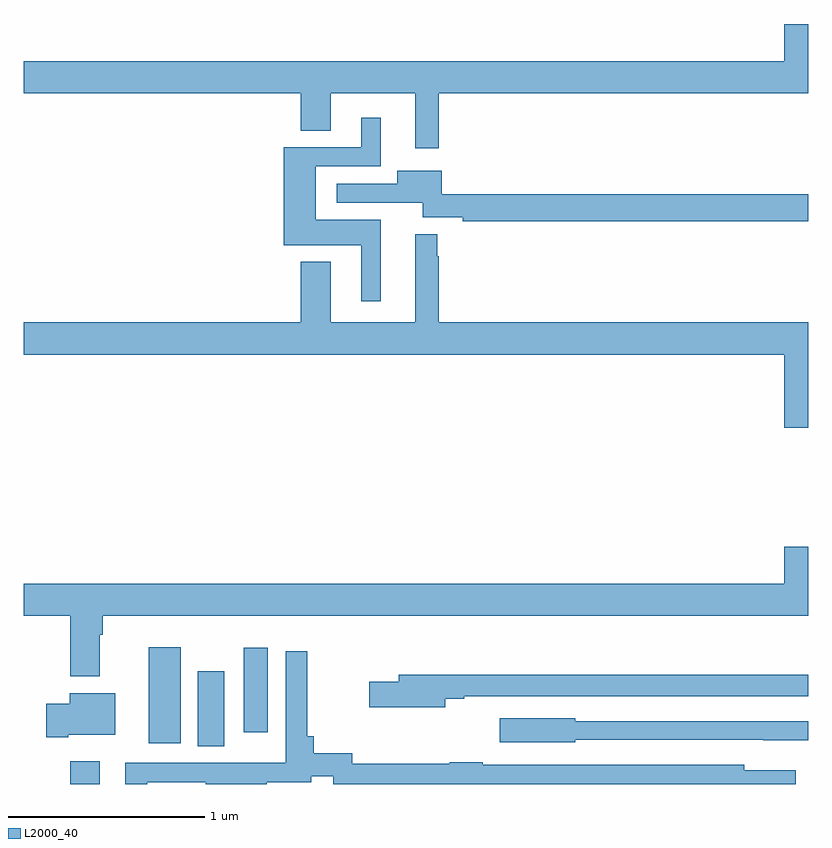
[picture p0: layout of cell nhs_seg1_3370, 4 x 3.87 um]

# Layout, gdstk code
import gdstk
lib = gdstk.Library(unit=1e-6, precision=1e-09)
def R(c, l, rs):  # rectangles x0, y0, x1, y1
    for r in rs: c.add(gdstk.rectangle(r[:2], r[2:], *l))
def P(c, l, *ps):  # polygons
    for p in ps: c.add(gdstk.Polygon(p, *l))
L2000_40 = (2000, 40)

nhs_seg1_3370 = lib.new_cell('nhs_seg1_3370')
R(nhs_seg1_3370, L2000_40, [(293.237,560.199,293.389,560.314), (293.888,560.392,294.022,560.773), (293.639,560.406,293.8,560.896), (294.122,560.463,294.244,560.893)])
P(nhs_seg1_3370, L2000_40, [(295.117,563.72),(297,563.72),(297,564.073),(296.876,564.073),(296.876,563.884),(293,563.884),(293,563.72),(294.413,563.72),(294.413,563.53),(294.565,563.53),(294.565,563.72),(294.995,563.72),(294.995,563.439),(295.117,563.439)],
  [(294.82,563.074),(294.49,563.074),(294.49,563.349),(294.82,563.349),(294.82,563.596),(294.722,563.596),(294.722,563.445),(294.326,563.445),(294.326,562.946),(294.722,562.946),(294.722,562.659),(294.82,562.659)],
  [(297,563.204),(295.131,563.204),(295.131,563.326),(294.905,563.326),(294.905,563.259),(294.597,563.259),(294.597,563.163),(295.035,563.163),(295.035,563.088),(295.238,563.088),(295.238,563.068),(297,563.068)],
  [(297,562.552),(295.117,562.552),(295.117,562.889),(295.108,562.889),(295.108,563.002),(294.995,563.002),(294.995,562.552),(294.565,562.552),(294.565,562.861),(294.413,562.861),(294.413,562.552),(293,562.552),(293,562.388),(296.876,562.388),(296.876,562.014),(297,562.014)],
  [(293.389,560.96),(293.402,560.96),(293.402,561.056),(297,561.056),(297,561.409),(296.876,561.409),(296.876,561.22),(293,561.22),(293,561.056),(293.237,561.056),(293.237,560.747),(293.389,560.747)],
  [(293.629,560.209),(293.929,560.209),(293.929,560.199),(294.239,560.199),(294.239,560.209),(294.466,560.209),(294.466,560.239),(294.579,560.239),(294.579,560.199),(296.935,560.199),(296.935,560.269),(296.674,560.269),(296.674,560.298),(295.34,560.298),(295.34,560.311),(295.172,560.311),(295.172,560.303),(294.675,560.303),(294.675,560.357),(294.479,560.357),(294.479,560.443),(294.445,560.443),(294.445,560.875),(294.336,560.875),(294.336,560.308),(294.126,560.308),(294.126,560.307),(293.517,560.307),(293.517,560.199),(293.629,560.199)],
  [(295.15,560.634),(295.246,560.634),(295.246,560.646),(297,560.646),(297,560.755),(294.911,560.755),(294.911,560.721),(294.762,560.721),(294.762,560.591),(295.15,560.591)],
  [(293.227,560.45),(293.467,560.45),(293.467,560.662),(293.234,560.662),(293.234,560.608),(293.115,560.608),(293.115,560.438),(293.227,560.438)],
  [(295.812,560.424),(296.77,560.424),(296.77,560.423),(297,560.423),(297,560.52),(295.812,560.52),(295.812,560.533),(295.428,560.533),(295.428,560.411),(295.812,560.411)])

lib.write_gds('nhs_seg1_3370.gds')
